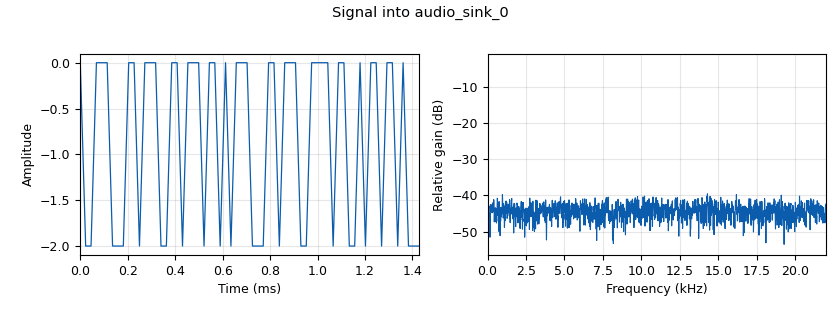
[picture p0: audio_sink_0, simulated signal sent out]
<?xml version='1.0' encoding='utf-8'?>
<?grc format='1' created='3.7.10'?>
<flow_graph>
<block>
<key>options</key>
<param><key>id</key><value>resonance_test</value></param>
<param><key>author</key><value>Peter F Bradshaw</value></param>
<param><key>description</key><value>A simple utility to find the material resonance</value></param>
<param><key>generate_options</key><value>qt_gui</value></param>
<param><key>title</key><value>Resonance Test</value></param>
</block>
<block>
<key>variable</key>
<param><key>id</key><value>samp_rate</value></param>
<param><key>value</key><value>44100</value></param>
</block>
<block>
<key>variable_qtgui_range</key>
<param><key>id</key><value>source_amplitude</value></param>
<param><key>value</key><value>0.5</value></param>
<param><key>label</key><value>Source Amplitude</value></param>
<param><key>orient</key><value>Qt.Horizontal</value></param>
<param><key>start</key><value>0</value></param>
<param><key>step</key><value>.01</value></param>
<param><key>stop</key><value>1</value></param>
</block>
<block>
<key>analog_random_uniform_source_x</key>
<param><key>id</key><value>analog_random_uniform_source_x_0</value></param>
<param><key>maximum</key><value>1</value></param>
<param><key>minimum</key><value>-1</value></param>
<param><key>type</key><value>int</value></param>
<param><key>seed</key><value>0</value></param>
</block>
<block>
<key>audio_sink</key>
<param><key>id</key><value>audio_sink_0</value></param>
<param><key>samp_rate</key><value>samp_rate</value></param>
</block>
<block>
<key>audio_source</key>
<param><key>id</key><value>audio_source_0</value></param>
<param><key>samp_rate</key><value>samp_rate</value></param>
</block>
<block>
<key>blocks_int_to_float</key>
<param><key>id</key><value>blocks_int_to_float_0</value></param>
<param><key>scale</key><value>source_amplitude</value></param>
</block>
<block>
<key>qtgui_sink_x</key>
<param><key>id</key><value>qtgui_sink_x_0</value></param>
<param><key>bw</key><value>samp_rate</value></param>
<param><key>fc</key><value>0</value></param>
<param><key>freqchangevar</key><value>None</value></param>
<param><key>fftsize</key><value>1024</value></param>
<param><key>name</key><value>"Pickup"</value></param>
<param><key>showports</key><value>True</value></param>
<param><key>type</key><value>float</value></param>
<param><key>wintype</key><value>firdes.WIN_BLACKMAN_hARRIS</value></param>
</block>
<connection><source_block_id>analog_random_uniform_source_x_0</source_block_id><sink_block_id>blocks_int_to_float_0</sink_block_id><source_key>0</source_key><sink_key>0</sink_key></connection>
<connection><source_block_id>audio_source_0</source_block_id><sink_block_id>qtgui_sink_x_0</sink_block_id><source_key>0</source_key><sink_key>0</sink_key></connection>
<connection><source_block_id>blocks_int_to_float_0</source_block_id><sink_block_id>audio_sink_0</sink_block_id><source_key>0</source_key><sink_key>0</sink_key></connection>
</flow_graph>
